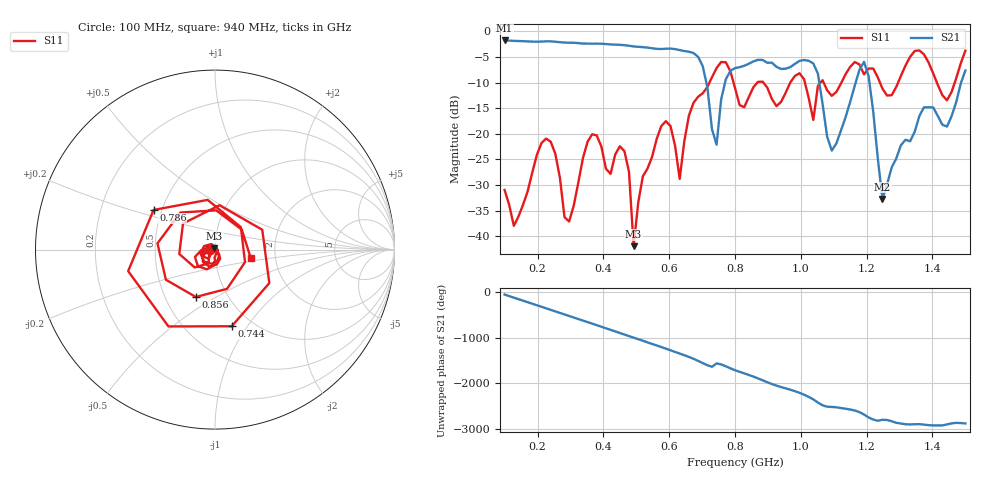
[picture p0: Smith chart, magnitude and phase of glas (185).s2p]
! NanoVNA-App
! Date: 2025-09-25 15:56:55
! Start: 100MHz Stop: 1,5GHz Points: 101
! S-Parameter data: F S11 S21 S12 S22
# Hz S RI R 50
!  Frequency  S11_Real  S11_Imag  S21_Real  S21_Imag  S12_Real  S12_Imag  S22_Real  S22_Imag
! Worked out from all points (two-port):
!   101 points, 100 MHz to 1.5 GHz, reference 50 ohm
!   highest |S21| = -1.80 dB at 100 MHz (marker M1); lowest = -32.7 dB at 1.248 GHz (marker M2)
!   |S21| within 3 dB of the highest: start of sweep to 684.2 MHz
!   lowest |S11| = -41.9 dB at 492 MHz (marker M3), VSWR 1.02, Z = 49.5 + j0.643 ohm
!   |S11| at or under -10 dB: start of sweep to 722.5 MHz; 795.5 MHz to 868.2 MHz (72.79 MHz wide, 8.75 % of centre); 886.1 MHz to 967.9 MHz (81.88 MHz wide, 8.83 % of centre) (the widest 3 of 7)
!   S12 and S22 are empty: the file has one direction only
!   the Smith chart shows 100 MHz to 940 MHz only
!   S11 on the Smith chart (normalised r, x): 100 MHz: 0.95, -0.01; 744 MHz: 0.81, -0.85; 786 MHz: 0.45, +0.24; 856 MHz: 0.71, -0.41; 940 MHz: 1.49, -0.15
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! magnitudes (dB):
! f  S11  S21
! 100 MHz  -31.0  -1.8
! 128 MHz  -37.9  -1.9
! 226 MHz  -20.9  -2.0
! 296 MHz  -37.1  -2.2
! 338 MHz  -24.7  -2.4
! 464 MHz  -23.4  -2.7
! 492 MHz  -41.9  -3.0
! 576 MHz  -18.5  -3.5
! 632 MHz  -28.8  -3.7
! 702 MHz  -12.1  -6.8
! 744 MHz  -7.2  -22.1
! 786 MHz  -7.8  -7.7
! 800 MHz  -11.1  -7.2
! 856 MHz  -10.9  -5.9
! 940 MHz  -13.8  -7.3
! 996 MHz  -8.2  -5.8
! 1.038 GHz  -17.3  -6.3
! 1.094 GHz  -12.6  -23.3
! 1.192 GHz  -8.4  -6.0
! 1.248 GHz  -11.2  -32.7
! 1.276 GHz  -12.5  -26.6
! 1.5 GHz  -3.8  -7.7
